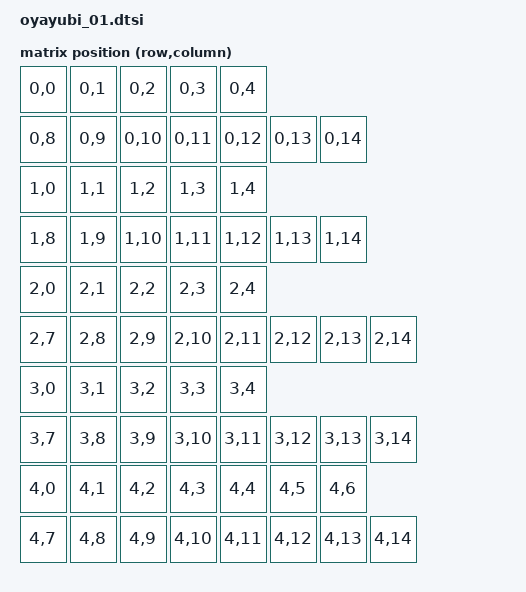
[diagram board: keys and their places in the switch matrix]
// row-gpios は左右でピンが異なるため overlay に移動（設計方針 §2）
// &xiao_d は D11 以降が未定義のため使わず、overlay で &gpio0/&gpio1 直接指定

#include <dt-bindings/zmk/matrix_transform.h>

#include "oyayubi_01-layouts.dtsi"

/ {
    chosen {
        zmk,physical-layout = &default_layout;
    };

    kscan: kscan {
        compatible = "zmk,kscan-gpio-matrix";
        diode-direction = "col2row";
        // col2row: row = 入力 (GPIO_ACTIVE_HIGH | GPIO_PULL_DOWN)
        //          col = 出力 (GPIO_ACTIVE_HIGH)
        wakeup-source;
        // row-gpios / col-gpios は各 overlay で指定
    };

    default_transform: default_transform {
        compatible = "zmk,matrix-transform";
        columns = <15>;  // 左 Col0-6 (7本) + 右 Col0-7 (8本)
        rows = <5>;

        map = <
            // Row0: 左 Col0-4 (5) + 右 Col1-7 (7) = 12
            // 右 Col0 は Row0 に存在しない
            RC(0,0) RC(0,1) RC(0,2) RC(0,3) RC(0,4)
            RC(0,8) RC(0,9) RC(0,10) RC(0,11) RC(0,12) RC(0,13) RC(0,14)

            // Row1: 左 Col0-4 (5) + 右 Col1-7 (7) = 12
            // 右 Col0 は Row1 に存在しない
            RC(1,0) RC(1,1) RC(1,2) RC(1,3) RC(1,4)
            RC(1,8) RC(1,9) RC(1,10) RC(1,11) RC(1,12) RC(1,13) RC(1,14)

            // Row2: 左 Col0-4 (5) + 右 Col0-7 (8) = 13
            // 右 Col0 (= unified 7) = エンコーダのプッシュスイッチ SW39
            RC(2,0) RC(2,1) RC(2,2) RC(2,3) RC(2,4)
            RC(2,7) RC(2,8) RC(2,9) RC(2,10) RC(2,11) RC(2,12) RC(2,13) RC(2,14)

            // Row3: 左 Col0-4 (5) + 右 Col0-7 (8) = 13
            RC(3,0) RC(3,1) RC(3,2) RC(3,3) RC(3,4)
            RC(3,7) RC(3,8) RC(3,9) RC(3,10) RC(3,11) RC(3,12) RC(3,13) RC(3,14)

            // Row4: 左 Col0-6 (7) + 右 Col0-7 (8) = 15
            RC(4,0) RC(4,1) RC(4,2) RC(4,3) RC(4,4) RC(4,5) RC(4,6)
            RC(4,7) RC(4,8) RC(4,9) RC(4,10) RC(4,11) RC(4,12) RC(4,13) RC(4,14)
        >;
    };
};
